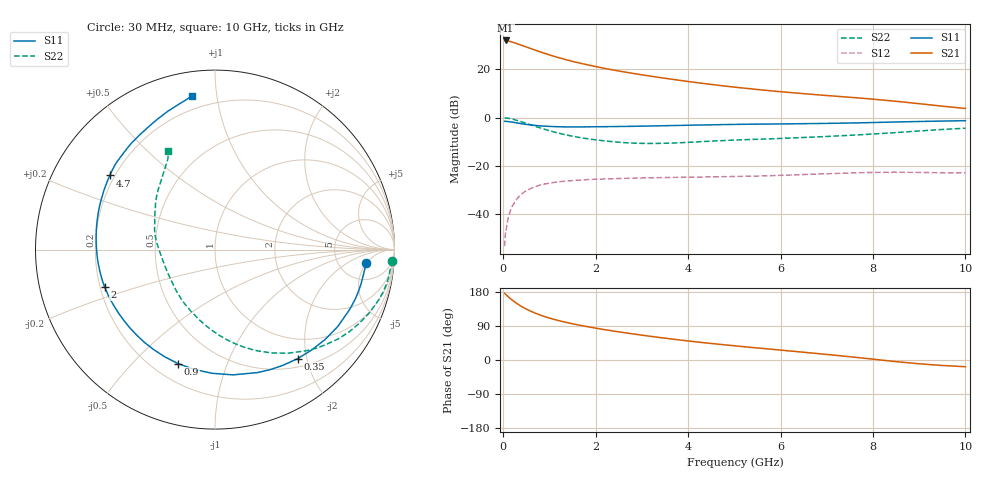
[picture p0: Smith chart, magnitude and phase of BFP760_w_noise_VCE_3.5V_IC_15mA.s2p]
! Infineon Technologies  Discrete & RF Semiconductors
! BFP760
! VCE =  3.5 V,  IC =  15 mA
! Common Emitter S-Parameters:  Nov 2012
# GHz  S  MA  R  50
!  f  S11  S21  S12  S22
! GHz  MAG  ANG  MAG  ANG  MAG  ANG  MAG  ANG
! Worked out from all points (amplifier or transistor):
!   99 points, 30 MHz to 10 GHz, reference 50 ohm
!   highest |S21| = 31.9 dB at 50 MHz (marker M1)
!   |S21| within 3 dB of that: start of sweep to 544 MHz
!   unconditionally stable (mu >= 1): 5.024 GHz to end of sweep
!   at 350 MHz: K = 0.18, MSG = 31.3 dB, |S12| = -32.4 dB
!   at 3.5 GHz: K = 0.79, MSG = 20.5 dB, |S12| = -24.8 dB
!   at 10 GHz: K = 1.12, MAG = 11.2 dB, |S12| = -22.8 dB
!   lowest NFmin = 0.56 dB at 900 MHz
!   S11 on the Smith chart (normalised r, x): 30 MHz: 9, -5; 350 MHz: 0.63, -1.84; 900 MHz: 0.30, -0.68; 2 GHz: 0.22, -0.16; 4.7 GHz: 0.18, +0.31; 10 GHz: 0.13, +0.85
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0.03  0.8433 -5.0  39.15 176.1  0.0022 79.7  0.9872 -3.6
0.04  0.8433 -6.6  39.11 175.1  0.0034 82.2  0.9866 -4.7
0.05  0.8401 -8.3  39.5 173.4  0.0042 77.5  0.9856 -5.7
0.13  0.8253 -21.2  37.95 164.6  0.0098 79.3  0.9634 -14.8
0.2  0.8073 -32.0  36.38 157.6  0.015 71.7  0.9303 -22.2
0.3  0.7762 -46.2  33.92 148.6  0.0212 65.6  0.8758 -31.7
0.35  0.7625 -52.8  32.54 144.7  0.0239 62.2  0.8465 -36.1
0.45  0.7367 -65.1  30.09 137.5  0.0288 57.6  0.7893 -44.1
0.6  0.7052 -81.8  26.75 128.5  0.0345 50.5  0.7062 -54.8
0.7  0.6893 -91.4  24.75 123.3  0.0376 46.7  0.6579 -61.1
0.9  0.6675 -108.0  21.33 114.5  0.0426 40.4  0.5731 -72.6
1.1  0.6534 -121.6  18.57 107.2  0.0458 35.6  0.5059 -82.6
1.3  0.6457 -132.9  16.37 101.0  0.0482 32.0  0.4534 -91.5
1.7  0.644 -150.7  13.15 90.7  0.0515 26.9  0.3811 -107.3
2  0.6493 -161.3  11.42 84.1  0.0533 24.1  0.3477 -118.6
2.6  0.6585 -178.2  8.887 72.5  0.0555 20.3  0.3054 -138.7
3.4  0.6787 164.4  6.736 59.1  0.0575 17.3  0.2942 -163.3
4.7  0.7172 144.8  4.62 41.2  0.06 15.3  0.3337 170.2
5.1  0.7274 140.7  4.186 36.4  0.061 15.3  0.3468 165.0
6.7  0.7553 127.5  3.025 18.2  0.0677 14.2  0.3965 147.4
8.5  0.8142 108.9  2.181 -4.3  0.0743 6.8  0.4914 127.4
10  0.8652 98.7  1.549 -17.7  0.0724 3.9  0.6057 115.4
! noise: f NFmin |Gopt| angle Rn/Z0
0.9  0.56  0.13  32  0.08
1.8  0.6  0.06  78  0.08
2.4  0.66  0.07  133  0.08
3.5  0.78  0.08  168  0.08
5.5  1.01  0.26  -130  0.08
8  1.36  0.39  -91  0.26
